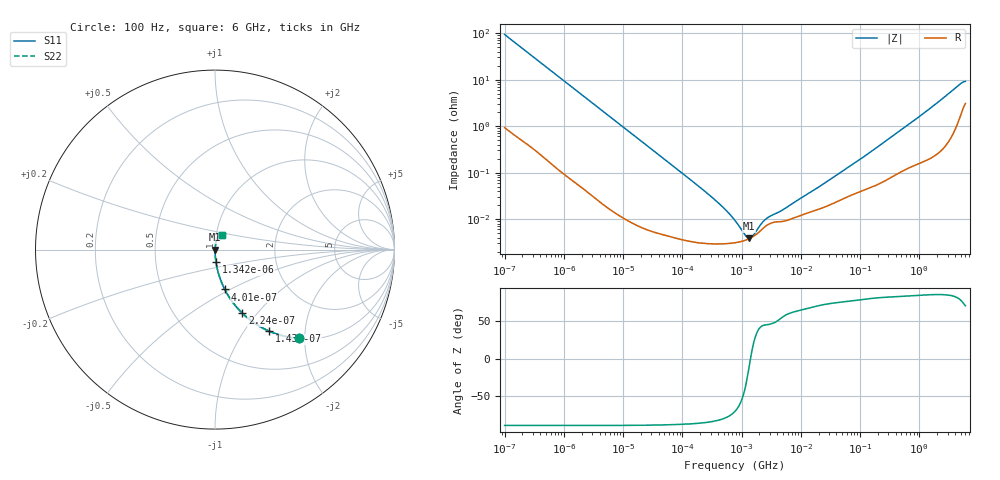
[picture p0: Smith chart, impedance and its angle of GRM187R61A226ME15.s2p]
!Murata Part Number: GRM187R61A226ME15
!These Parameters are Measured in Series Mode Connection
!Data Generated on Mar 30, 2021
!  o--ll--o
!Port1  Port2
!  o------o
!Operation Temp=25[degC], DC Bias Voltage=0[V]
!Freq. Start=100[Hz] Stop=6[GHz] 401[Steps]
# Hz S RI R 50
!Freq.(Hz) S11(Real) S11(Imag) S21(Real) S21(Imag) S12(Real) S12(Imag) S22(Real) S22(Imag)
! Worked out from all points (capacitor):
!   401 points, 100 Hz to 6 GHz, reference 50 ohm
!   read as one part in series: C = 17 uF near 109 Hz
!   lowest |Z| = 3.88 mohm at 1.326 MHz (marker M1)
!   series resonance near 1.417 MHz, so ESL is about 740 pH
!   S11 on the Smith chart (normalised r, x): 100 Hz: 1.02, -1.87; 143 Hz: 1.01, -1.31; 224 Hz: 1.01, -0.84; 401 Hz: 1.00, -0.47; 1.342 kHz: 1.00, -0.14; 6 GHz: 1.06, +0.17
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100  0.4663 -0.4939  0.5337 0.4939  0.5337 0.4939  0.4663 -0.4939
143  0.3016 -0.454  0.6984 0.454  0.6984 0.454  0.3016 -0.454
224  0.1521 -0.354  0.8479 0.354  0.8479 0.354  0.1521 -0.354
401  0.0545 -0.2219  0.9455 0.2219  0.9455 0.2219  0.0545 -0.2219
717  0.0184 -0.1294  0.9816 0.1294  0.9816 0.1294  0.0184 -0.1294
1342  0.00567 -0.0703  0.9943 0.0703  0.9943 0.0703  0.00567 -0.0703
2008  0.00272 -0.0473  0.9973 0.0473  0.9973 0.0473  0.00272 -0.0473
6433  0.000373 -0.0149  0.9996 0.0149  0.9996 0.0149  0.000373 -0.0149
40335  5.46e-05 -0.0024  0.9999 0.0024  0.9999 0.0024  5.46e-05 -0.0024
276587  2.98e-05 -0.00034  1 0.00034  1 0.00034  2.98e-05 -0.00034
473344  2.95e-05 -0.000183  1 0.000183  1 0.000183  2.95e-05 -0.000183
708247  3.06e-05 -0.000103  1 0.000103  1 0.000103  3.06e-05 -0.000103
774597  3.11e-05 -8.84e-05  1 8.84e-05  1 8.84e-05  3.11e-05 -8.84e-05
1325623  3.77e-05 -9.1e-06  1 9.1e-06  1 9.1e-06  3.77e-05 -9.1e-06
2594782  7.19e-05 7.19e-05  0.9999 -7.19e-05  0.9999 -7.19e-05  7.19e-05 7.19e-05
4643984  8.86e-05 0.000122  0.9999 -0.000122  0.9999 -0.000122  8.86e-05 0.000122
1.555665e7  0.000146 0.000371  0.9999 -0.000371  0.9999 -0.000371  0.000146 0.000371
9.326766e7  0.000379 0.00178  0.9996 -0.00178  0.9996 -0.00178  0.000379 0.00178
3.124326e8  0.000779 0.0054  0.9992 -0.0054  0.9992 -0.0054  0.000779 0.0054
1.309207e9  0.00225 0.0206  0.9978 -0.0206  0.9978 -0.0206  0.00225 0.0206
4.796499e9  0.0203 0.0749  0.9797 -0.0749  0.9797 -0.0749  0.0203 0.0749
6e9  0.0366 0.0807  0.9634 -0.0807  0.9634 -0.0807  0.0366 0.0807
